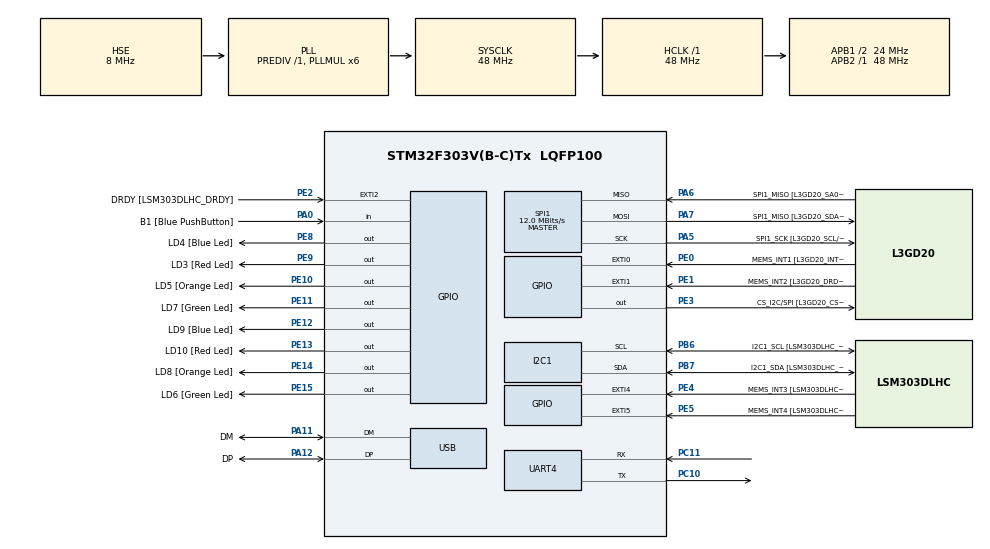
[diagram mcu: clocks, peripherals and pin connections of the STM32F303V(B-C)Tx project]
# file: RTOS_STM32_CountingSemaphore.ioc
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FREERTOS.INCLUDE_vTaskDelayUntil=1
FREERTOS.Tasks01=defaultTask,0,128,StartDefaultTask,Default,NULL,Dynamic,NULL,NULL
FREERTOS.configUSE_COUNTING_SEMAPHORES=1
FREERTOS.configUSE_MUTEXES=1
FREERTOS.configUSE_NEWLIB_REENTRANT=1
I2C1.Timing-I2C=0x2000090E
Mcu.Family=STM32F3
Mcu.Name=STM32F303V(B-C)Tx
Mcu.Package=LQFP100
NVIC.PriorityGroup=NVIC_PRIORITYGROUP_4
NVIC.TIM1_TRG_COM_TIM17_IRQn=true\:15\:0\:false\:false\:true\:false\:false\:true\:true
NVIC.TimeBase=TIM1_TRG_COM_TIM17_IRQn
NVIC.TimeBaseIP=TIM17
NVIC.UART4_IRQn=true\:5\:0\:false\:false\:true\:true\:true\:true\:true
PA0.GPIO_Label=B1 [Blue PushButton]
PA0.Signal=GPIO_Input
PA11.GPIO_Label=DM
PA11.Mode=Device
PA11.Signal=USB_DM
PA12.GPIO_Label=DP
PA12.Mode=Device
PA12.Signal=USB_DP
PA13.GPIO_Label=SWDIO
PA13.Mode=Serial_Wire
PA13.Signal=SYS_JTMS-SWDIO
PA14.GPIO_Label=SWCLK
PA14.Mode=Serial_Wire
PA14.Signal=SYS_JTCK-SWCLK
PA5.GPIO_Label=SPI1_SCK [L3GD20_SCL/SPC]
PA5.Mode=Full_Duplex_Master
PA5.Signal=SPI1_SCK
PA6.GPIO_Label=SPI1_MISO [L3GD20_SA0/SDO]
PA6.Mode=Full_Duplex_Master
PA6.Signal=SPI1_MISO
PA7.GPIO_Label=SPI1_MISO [L3GD20_SDA/SDI/SDO]
PA7.Mode=Full_Duplex_Master
PA7.Signal=SPI1_MOSI
PB3.GPIO_Label=SWO
PB3.Signal=SYS_JTDO-TRACESWO
PB6.GPIO_Label=I2C1_SCL [LSM303DLHC_SCL]
PB6.GPIO_Pu=GPIO_PULLUP
PB6.Mode=I2C
PB6.Signal=I2C1_SCL
PB7.GPIO_Label=I2C1_SDA [LSM303DLHC_SDA]
PB7.GPIO_Pu=GPIO_PULLUP
PB7.Mode=I2C
PB7.Signal=I2C1_SDA
PC10.Mode=Asynchronous
PC10.Signal=UART4_TX
PC11.Mode=Asynchronous
PC11.Signal=UART4_RX
PC14-OSC32_IN.GPIO_Label=OSC32_IN
PC14-OSC32_IN.Signal=RCC_OSC32_IN
PC15-OSC32_OUT.GPIO_Label=OSC32_OUT
PC15-OSC32_OUT.Signal=RCC_OSC32_OUT
PE0.GPIO_Label=MEMS_INT1 [L3GD20_INT1]
PE0.GPIO_ModeDefaultEXTI=GPIO_MODE_EVT_RISING
PE0.Signal=GPXTI0
PE1.GPIO_Label=MEMS_INT2 [L3GD20_DRDY/INT2]
PE1.GPIO_ModeDefaultEXTI=GPIO_MODE_EVT_RISING
PE1.Signal=GPXTI1
PE10.GPIO_Label=LD5 [Orange Led]
PE10.Signal=GPIO_Output
PE11.GPIO_Label=LD7 [Green Led]
PE11.Signal=GPIO_Output
PE12.GPIO_Label=LD9 [Blue Led]
PE12.Signal=GPIO_Output
PE13.GPIO_Label=LD10 [Red Led]
PE13.Signal=GPIO_Output
PE14.GPIO_Label=LD8 [Orange Led]
PE14.Signal=GPIO_Output
PE15.GPIO_Label=LD6 [Green Led]
PE15.Signal=GPIO_Output
PE2.GPIO_Label=DRDY [LSM303DLHC_DRDY]
PE2.GPIO_ModeDefaultEXTI=GPIO_MODE_EVT_RISING
PE2.Signal=GPXTI2
PE3.GPIO_Label=CS_I2C/SPI [L3GD20_CS_I2C/SPI]
PE3.Signal=GPIO_Output
PE4.GPIO_Label=MEMS_INT3 [LSM303DLHC_INT1]
PE4.GPIO_ModeDefaultEXTI=GPIO_MODE_EVT_RISING
PE4.Signal=GPXTI4
PE5.GPIO_Label=MEMS_INT4 [LSM303DLHC_INT2]
PE5.GPIO_ModeDefaultEXTI=GPIO_MODE_EVT_RISING
PE5.Signal=GPXTI5
PE8.GPIO_Label=LD4 [Blue Led]
PE8.Signal=GPIO_Output
PE9.GPIO_Label=LD3 [Red Led]
PE9.Signal=GPIO_Output
PF0-OSC_IN.GPIO_Label=OSC_IN
PF0-OSC_IN.Mode=HSE-External-Clock-Source
PF0-OSC_IN.Signal=RCC_OSC_IN
PF1-OSC_OUT.GPIO_Label=OSC_OUT
PF1-OSC_OUT.Signal=RCC_OSC_OUT
ProjectManager.HeapSize=0x200
ProjectManager.StackSize=0x400
ProjectManager.TargetToolchain=STM32CubeIDE
RCC.AHBFreq_Value=48000000
RCC.APB1CLKDivider=RCC_HCLK_DIV2
RCC.APB1Freq_Value=24000000
RCC.APB1TimFreq_Value=48000000
RCC.APB2Freq_Value=48000000
RCC.APB2TimFreq_Value=48000000
RCC.CortexFreq_Value=48000000
RCC.HCLKFreq_Value=48000000
RCC.HSE_VALUE=8000000
RCC.HSI_VALUE=8000000
RCC.LSE_VALUE=32768
RCC.PLLMUL=RCC_PLL_MUL6
RCC.SYSCLKFreq_VALUE=48000000
RCC.SYSCLKSourceVirtual=RCC_SYSCLKSOURCE_PLLCLK
RCC.USBFreq_Value=48000000
SPI1.BaudRatePrescaler=SPI_BAUDRATEPRESCALER_4
SPI1.BaudRatePrescaler-Full_Duplex_Master=SPI_BAUDRATEPRESCALER_2
SPI1.CalculateBaudRate=12.0 MBits/s
SPI1.CalculateBaudRate-Full_Duplex_Master=24.0 MBits/s
SPI1.Direction=SPI_DIRECTION_2LINES
SPI1.Mode=SPI_MODE_MASTER
SPI1.Mode-Full_Duplex_Master=SPI_MODE_MASTER
SPI1.VirtualType=VM_MASTER
VP_FREERTOS_VS_CMSIS_V1.Mode=CMSIS_V1
VP_SYS_VS_tim17.Mode=TIM17
board=STM32F3DISCOVERY

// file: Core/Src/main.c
/* USER CODE BEGIN Header */
/**
  ******************************************************************************
  * @file           : main.c
  * @brief          : Main program body
  ******************************************************************************
  * @attention
  *
  * Copyright (c) 2023 STMicroelectronics.
  * All rights reserved.
  *
  * This software is licensed under terms that can be found in the LICENSE file
  * in the root directory of this software component.
  * If no LICENSE file comes with this software, it is provided AS-IS.
  *
  ******************************************************************************
  */
/* USER CODE END Header */
#include "main.h"

/* USER CODE BEGIN Includes */
#include "FreeRTOS.h"
#include "task.h"
#include "timers.h"
#include "queue.h"
#include "semphr.h"
#include "event_groups.h"
#include "string.h"
#include "stdlib.h"
/* USER CODE END Includes */

/* USER CODE BEGIN PD */
#define RTOS_COUNTING_SEM_VAL 3

//
#define uxSemaphoreGetCountFromISR( xSemaphore )         uxQueueMessagesWaitingFromISR( ( QueueHandle_t ) ( xSemaphore ) )

/* USER CODE END PD */

I2C_HandleTypeDef hi2c1;

SPI_HandleTypeDef hspi1;

UART_HandleTypeDef huart4;

PCD_HandleTypeDef hpcd_USB_FS;

void SystemClock_Config(void);
static void MX_GPIO_Init(void);
static void MX_I2C1_Init(void);
static void MX_SPI1_Init(void);
static void MX_USB_PCD_Init(void);
static void MX_UART4_Init(void);

/* USER CODE BEGIN 0 */
TaskHandle_t Priority1_Task_handler;
void Priority1_Task_Callback(void *pvParameters);

TaskHandle_t Priority2_Task_handler;
void Priority2_Task_Callback(void *pvParameters);

TaskHandle_t Priority3_Task_handler;
void Priority3_Task_Callback(void *pvParameters);

TaskHandle_t Priority4_Task_handler;
void Priority4_Task_Callback(void *pvParameters);

SemaphoreHandle_t Counting_Semaphore;

int resources[3] = {111, 222, 333};
int res_index = 0;

uint8_t rxByte[1];

/* USER CODE END 0 */

int main(void)
{

  /* MCU Configuration--------------------------------------------------------*/

  /* Reset of all peripherals, Initializes the Flash interface and the Systick. */
  HAL_Init();

  /* Configure the system clock */
  SystemClock_Config();

  /* Initialize all configured peripherals */
  MX_GPIO_Init();
  MX_I2C1_Init();
  MX_SPI1_Init();
  MX_USB_PCD_Init();
  MX_UART4_Init();
  /* USER CODE BEGIN 2 */

  {
	  char *str = "This is a test from Muhammad Reza Heidary.\r\n";
	  HAL_UART_Transmit(&huart4, (uint8_t *)str, strlen(str), 100);
	  HAL_UART_Receive_IT(&huart4, rxByte, 1);
  }

  // Creating Counting Semaphore
  Counting_Semaphore = xQueueCreateCountingSemaphore(RTOS_COUNTING_SEM_VAL, 0);
  if(Counting_Semaphore == NULL) {
	  char *strSem = "Unable to create Semaphore!\r\n";
	  HAL_UART_Transmit(&huart4, (uint8_t *)strSem, strlen(strSem), 100);
  }
  else {
	  char *strSem = "Semaphore created successfully!\r\n";
	  HAL_UART_Transmit(&huart4, (uint8_t *)strSem, strlen(strSem), 100);
  }

  // Creating Tasks
  xTaskCreate(Priority1_Task_Callback, "Priority1_Task", 128, NULL, 3, &Priority1_Task_handler);
  xTaskCreate(Priority2_Task_Callback, "Priority2_Task", 128, NULL, 2, &Priority2_Task_handler);
  xTaskCreate(Priority3_Task_Callback, "Priority3_Task", 128, NULL, 1, &Priority3_Task_handler);
  xTaskCreate(Priority4_Task_Callback, "Priority4_Task", 128, NULL, 0, &Priority4_Task_handler);

  // Starting Kernel Scheduler
  vTaskStartScheduler();

  /* USER CODE END 2 */

  /* We should never get here as control is now taken by the scheduler */
  /* Infinite loop */
  while (1)
  {

  }
}

void SystemClock_Config(void)
{
  RCC_OscInitTypeDef RCC_OscInitStruct = {0};
  RCC_ClkInitTypeDef RCC_ClkInitStruct = {0};
  RCC_PeriphCLKInitTypeDef PeriphClkInit = {0};

  /** Initializes the RCC Oscillators according to the specified parameters
  * in the RCC_OscInitTypeDef structure.
  */
  RCC_OscInitStruct.OscillatorType = RCC_OSCILLATORTYPE_HSI|RCC_OSCILLATORTYPE_HSE;
  RCC_OscInitStruct.HSEState = RCC_HSE_BYPASS;
  RCC_OscInitStruct.HSEPredivValue = RCC_HSE_PREDIV_DIV1;
  RCC_OscInitStruct.HSIState = RCC_HSI_ON;
  RCC_OscInitStruct.HSICalibrationValue = RCC_HSICALIBRATION_DEFAULT;
  RCC_OscInitStruct.PLL.PLLState = RCC_PLL_ON;
  RCC_OscInitStruct.PLL.PLLSource = RCC_PLLSOURCE_HSE;
  RCC_OscInitStruct.PLL.PLLMUL = RCC_PLL_MUL6;
  if (HAL_RCC_OscConfig(&RCC_OscInitStruct) != HAL_OK)
  {
    Error_Handler();
  }

  /** Initializes the CPU, AHB and APB buses clocks
  */
  RCC_ClkInitStruct.ClockType = RCC_CLOCKTYPE_HCLK|RCC_CLOCKTYPE_SYSCLK
                              |RCC_CLOCKTYPE_PCLK1|RCC_CLOCKTYPE_PCLK2;
  RCC_ClkInitStruct.SYSCLKSource = RCC_SYSCLKSOURCE_PLLCLK;
  RCC_ClkInitStruct.AHBCLKDivider = RCC_SYSCLK_DIV1;
  RCC_ClkInitStruct.APB1CLKDivider = RCC_HCLK_DIV2;
  RCC_ClkInitStruct.APB2CLKDivider = RCC_HCLK_DIV1;

  if (HAL_RCC_ClockConfig(&RCC_ClkInitStruct, FLASH_LATENCY_1) != HAL_OK)
  {
    Error_Handler();
  }
  PeriphClkInit.PeriphClockSelection = RCC_PERIPHCLK_USB|RCC_PERIPHCLK_UART4
                              |RCC_PERIPHCLK_I2C1;
  PeriphClkInit.Uart4ClockSelection = RCC_UART4CLKSOURCE_PCLK1;
  PeriphClkInit.I2c1ClockSelection = RCC_I2C1CLKSOURCE_HSI;
  PeriphClkInit.USBClockSelection = RCC_USBCLKSOURCE_PLL;
  if (HAL_RCCEx_PeriphCLKConfig(&PeriphClkInit) != HAL_OK)
  {
    Error_Handler();
  }
}

static void MX_I2C1_Init(void)
{

  hi2c1.Instance = I2C1;
  hi2c1.Init.Timing = 0x2000090E;
  hi2c1.Init.OwnAddress1 = 0;
  hi2c1.Init.AddressingMode = I2C_ADDRESSINGMODE_7BIT;
  hi2c1.Init.DualAddressMode = I2C_DUALADDRESS_DISABLE;
  hi2c1.Init.OwnAddress2 = 0;
  hi2c1.Init.OwnAddress2Masks = I2C_OA2_NOMASK;
  hi2c1.Init.GeneralCallMode = I2C_GENERALCALL_DISABLE;
  hi2c1.Init.NoStretchMode = I2C_NOSTRETCH_DISABLE;
  if (HAL_I2C_Init(&hi2c1) != HAL_OK)
  {
    Error_Handler();
  }

  /** Configure Analogue filter
  */
  if (HAL_I2CEx_ConfigAnalogFilter(&hi2c1, I2C_ANALOGFILTER_ENABLE) != HAL_OK)
  {
    Error_Handler();
  }

  /** Configure Digital filter
  */
  if (HAL_I2CEx_ConfigDigitalFilter(&hi2c1, 0) != HAL_OK)
  {
    Error_Handler();
  }

}

static void MX_SPI1_Init(void)
{

  /* SPI1 parameter configuration*/
  hspi1.Instance = SPI1;
  hspi1.Init.Mode = SPI_MODE_MASTER;
  hspi1.Init.Direction = SPI_DIRECTION_2LINES;
  hspi1.Init.DataSize = SPI_DATASIZE_4BIT;
  hspi1.Init.CLKPolarity = SPI_POLARITY_LOW;
  hspi1.Init.CLKPhase = SPI_PHASE_1EDGE;
  hspi1.Init.NSS = SPI_NSS_SOFT;
  hspi1.Init.BaudRatePrescaler = SPI_BAUDRATEPRESCALER_4;
  hspi1.Init.FirstBit = SPI_FIRSTBIT_MSB;
  hspi1.Init.TIMode = SPI_TIMODE_DISABLE;
  hspi1.Init.CRCCalculation = SPI_CRCCALCULATION_DISABLE;
  hspi1.Init.CRCPolynomial = 7;
  hspi1.Init.CRCLength = SPI_CRC_LENGTH_DATASIZE;
  hspi1.Init.NSSPMode = SPI_NSS_PULSE_ENABLE;
  if (HAL_SPI_Init(&hspi1) != HAL_OK)
  {
    Error_Handler();
  }

}

static void MX_UART4_Init(void)
{

  huart4.Instance = UART4;
  huart4.Init.BaudRate = 115200;
  huart4.Init.WordLength = UART_WORDLENGTH_8B;
  huart4.Init.StopBits = UART_STOPBITS_1;
  huart4.Init.Parity = UART_PARITY_NONE;
  huart4.Init.Mode = UART_MODE_TX_RX;
  huart4.Init.HwFlowCtl = UART_HWCONTROL_NONE;
  huart4.Init.OverSampling = UART_OVERSAMPLING_16;
  huart4.Init.OneBitSampling = UART_ONE_BIT_SAMPLE_DISABLE;
  huart4.AdvancedInit.AdvFeatureInit = UART_ADVFEATURE_NO_INIT;
  if (HAL_UART_Init(&huart4) != HAL_OK)
  {
    Error_Handler();
  }

}

static void MX_USB_PCD_Init(void)
{

  hpcd_USB_FS.Instance = USB;
  hpcd_USB_FS.Init.dev_endpoints = 8;
  hpcd_USB_FS.Init.speed = PCD_SPEED_FULL;
  hpcd_USB_FS.Init.phy_itface = PCD_PHY_EMBEDDED;
  hpcd_USB_FS.Init.low_power_enable = DISABLE;
  hpcd_USB_FS.Init.battery_charging_enable = DISABLE;
  if (HAL_PCD_Init(&hpcd_USB_FS) != HAL_OK)
  {
    Error_Handler();
  }

}

static void MX_GPIO_Init(void)
{
  GPIO_InitTypeDef GPIO_InitStruct = {0};

  /* GPIO Ports Clock Enable */
  __HAL_RCC_GPIOE_CLK_ENABLE();
  __HAL_RCC_GPIOC_CLK_ENABLE();
  __HAL_RCC_GPIOF_CLK_ENABLE();
  __HAL_RCC_GPIOA_CLK_ENABLE();
  __HAL_RCC_GPIOB_CLK_ENABLE();

  /*Configure GPIO pin Output Level */
  HAL_GPIO_WritePin(GPIOE, CS_I2C_SPI_Pin|LD4_Pin|LD3_Pin|LD5_Pin
                          |LD7_Pin|LD9_Pin|LD10_Pin|LD8_Pin
                          |LD6_Pin, GPIO_PIN_RESET);

  /*Configure GPIO pins : DRDY_Pin MEMS_INT3_Pin MEMS_INT4_Pin MEMS_INT1_Pin
                           MEMS_INT2_Pin */
  GPIO_InitStruct.Pin = DRDY_Pin|MEMS_INT3_Pin|MEMS_INT4_Pin|MEMS_INT1_Pin
                          |MEMS_INT2_Pin;
  GPIO_InitStruct.Mode = GPIO_MODE_EVT_RISING;
  GPIO_InitStruct.Pull = GPIO_NOPULL;
  HAL_GPIO_Init(GPIOE, &GPIO_InitStruct);

  /*Configure GPIO pins : CS_I2C_SPI_Pin LD4_Pin LD3_Pin LD5_Pin
                           LD7_Pin LD9_Pin LD10_Pin LD8_Pin
                           LD6_Pin */
  GPIO_InitStruct.Pin = CS_I2C_SPI_Pin|LD4_Pin|LD3_Pin|LD5_Pin
                          |LD7_Pin|LD9_Pin|LD10_Pin|LD8_Pin
                          |LD6_Pin;
  GPIO_InitStruct.Mode = GPIO_MODE_OUTPUT_PP;
  GPIO_InitStruct.Pull = GPIO_NOPULL;
  GPIO_InitStruct.Speed = GPIO_SPEED_FREQ_LOW;
  HAL_GPIO_Init(GPIOE, &GPIO_InitStruct);

  /*Configure GPIO pin : B1_Pin */
  GPIO_InitStruct.Pin = B1_Pin;
  GPIO_InitStruct.Mode = GPIO_MODE_INPUT;
  GPIO_InitStruct.Pull = GPIO_NOPULL;
  HAL_GPIO_Init(B1_GPIO_Port, &GPIO_InitStruct);

}

/* USER CODE BEGIN 4 */

void Priority1_Task_Callback(void *pvParameters) {

	char str_resources[3];
	int sem_count = 0;
	char str_semcount[3];
	int sem_count_token = 0;
	char str_semcount_token[3];

	// Give 3 Semaphores at begginning of the task
	xSemaphoreGive(Counting_Semaphore);
	xSemaphoreGive(Counting_Semaphore);
	xSemaphoreGive(Counting_Semaphore);

	while(1) {
		  char str[150];
		  strcpy(str, "Entering to the task with highest priority(P1) => About to acquire the semaphore\r\n");
		  sem_count = uxSemaphoreGetCount(Counting_Semaphore);
		  itoa(sem_count, str_semcount, 10);
		  strcat(str, "#P1 Available tokens: ");
		  strcat(str, str_semcount);
		  strcat(str, "\r\n");
		  HAL_UART_Transmit(&huart4, (uint8_t *)str, strlen(str), HAL_MAX_DELAY);

		  xSemaphoreTake(Counting_Semaphore, portMAX_DELAY);

		  itoa(resources[res_index], str_resources, 10);
		  strcpy(str, "Leaving task with highest priority(P1) && Data Accessed is::");
		  strcat(str, str_resources);
		  strcat(str, " => Not releasing the semaphore...\r\n");
		  sem_count_token = uxSemaphoreGetCount(Counting_Semaphore);
		  itoa(sem_count_token, str_semcount_token, 10);
		  strcat(str, "###P1 Available tokens: ");
		  strcat(str, str_semcount_token);
		  strcat(str, "\r\n");
		  HAL_UART_Transmit(&huart4, (uint8_t *)str, strlen(str), HAL_MAX_DELAY);

		  res_index++;
		  if(res_index > 2) res_index = 0;
		  vTaskDelay(3000);
//		  vTaskDelete(NULL);
	}

}

void Priority2_Task_Callback(void *pvParameters) {

	char str_resources[3];
	int sem_count = 0;
	char str_semcount[3];
	int sem_count_token = 0;
	char str_semcount_token[3];

	while(1) {
		  char str[150];
		  strcpy(str, "Entering to the task with high priority(P2) => About to acquire the semaphore\r\n");
		  sem_count = uxSemaphoreGetCount(Counting_Semaphore);
		  itoa(sem_count, str_semcount, 10);
		  strcat(str, "#P2 Available tokens: ");
		  strcat(str, str_semcount);
		  strcat(str, "\r\n");
		  HAL_UART_Transmit(&huart4, (uint8_t *)str, strlen(str), HAL_MAX_DELAY);

		  xSemaphoreTake(Counting_Semaphore, portMAX_DELAY);

		  itoa(resources[res_index], str_resources, 10);
		  strcpy(str, "Leaving task with high priority(P2) && Data Accessed is::");
		  strcat(str, str_resources);
		  strcat(str, " => Not releasing the semaphore...\r\n");
		  sem_count_token = uxSemaphoreGetCount(Counting_Semaphore);
		  itoa(sem_count_token, str_semcount_token, 10);
		  strcat(str, "###P2 Available tokens: ");
		  strcat(str, str_semcount_token);
		  strcat(str, "\r\n");
		  HAL_UART_Transmit(&huart4, (uint8_t *)str, strlen(str), HAL_MAX_DELAY);

		  res_index++;
		  if(res_index > 2) res_index = 0;
		  vTaskDelay(2000);
//		  vTaskDelete(NULL);
	}

}

void Priority3_Task_Callback(void *pvParameters) {

	char str_resources[3];
	int sem_count = 0;
	char str_semcount[3];
	int sem_count_token = 0;
	char str_semcount_token[3];

	while(1) {
		  char str[150];
		  strcpy(str, "Entering to the task with low priority(P3) => About to acquire the semaphore\r\n");
		  sem_count = uxSemaphoreGetCount(Counting_Semaphore);
		  itoa(sem_count, str_semcount, 10);
		  strcat(str, "#P3 Available tokens: ");
		  strcat(str, str_semcount);
		  strcat(str, "\r\n");
		  HAL_UART_Transmit(&huart4, (uint8_t *)str, strlen(str), HAL_MAX_DELAY);

		  xSemaphoreTake(Counting_Semaphore, portMAX_DELAY);

		  itoa(resources[res_index], str_resources, 10);
		  strcpy(str, "Leaving task with low priority(P3) && Data Accessed is::");
		  strcat(str, str_resources);
		  strcat(str, " => Not releasing the semaphore...\r\n");
		  sem_count_token = uxSemaphoreGetCount(Counting_Semaphore);
		  itoa(sem_count_token, str_semcount_token, 10);
		  strcat(str, "###P3 Available tokens: ");
		  strcat(str, str_semcount_token);
		  strcat(str, "\r\n");
		  HAL_UART_Transmit(&huart4, (uint8_t *)str, strlen(str), HAL_MAX_DELAY);

		  res_index++;
		  if(res_index > 2) res_index = 0;
		  vTaskDelay(1000);
//		  vTaskDelete(NULL);
	}

}

void Priority4_Task_Callback(void *pvParameters) {

	char str_resources[3];
	int sem_count = 0;
	char str_semcount[3];
	int sem_count_token = 0;
	char str_semcount_token[3];

	while(1) {
		  char str[150];
		  strcpy(str, "Entering to the task with lowest priority(P4) => About to acquire the semaphore\r\n");
		  sem_count = uxSemaphoreGetCount(Counting_Semaphore);
		  itoa(sem_count, str_semcount, 10);
		  strcat(str, "#P4 Available tokens: ");
		  strcat(str, str_semcount);
		  strcat(str, "\r\n");
		  HAL_UART_Transmit(&huart4, (uint8_t *)str, strlen(str), HAL_MAX_DELAY);

		  xSemaphoreTake(Counting_Semaphore, portMAX_DELAY);

		  itoa(resources[res_index], str_resources, 10);
		  strcpy(str, "Leaving task with lowest priority(P4) && Data Accessed is::");
		  strcat(str, str_resources);
		  strcat(str, " => Not releasing the semaphore...\r\n");
		  sem_count_token = uxSemaphoreGetCount(Counting_Semaphore);
		  itoa(sem_count_token, str_semcount_token, 10);
		  strcat(str, "###P4 Available tokens: ");
		  strcat(str, str_semcount_token);
		  strcat(str, "\r\n");
		  HAL_UART_Transmit(&huart4, (uint8_t *)str, strlen(str), HAL_MAX_DELAY);

		  res_index++;
		  if(res_index > 2) res_index = 0;
		  vTaskDelay(500);
//		  vTaskDelete(NULL);
	}

}

void HAL_UART_RxCpltCallback(UART_HandleTypeDef *huart) {
	if(huart->Instance == huart4.Instance) {

		HAL_UART_Receive_IT(&huart4, rxByte, 1);

		// Releasing Semaphore from ISR is not straightforward by using a single function
		if(rxByte[0] == 'R') {
			static BaseType_t xHigherPriorityTaskWoken = pdFALSE;

	        xSemaphoreGiveFromISR(Counting_Semaphore, &xHigherPriorityTaskWoken ); //Release semaphore in ISR
	        xSemaphoreGiveFromISR(Counting_Semaphore, &xHigherPriorityTaskWoken ); //Release semaphore in ISR
	        xSemaphoreGiveFromISR(Counting_Semaphore, &xHigherPriorityTaskWoken ); //Release semaphore in ISR

			int sem_count = 0;
			char str_semcount[3] = {'\0'};;
		    char strISR[150] = {'\0'};;

	        sem_count = uxSemaphoreGetCountFromISR(Counting_Semaphore);
			itoa(sem_count, str_semcount, 10);
			strcat(strISR, "###UART ISR### Available tokens: ");
			strcat(strISR, str_semcount);
			strcat(strISR, "\r\n");
		    HAL_UART_Transmit(&huart4, (uint8_t *)strISR, strlen(strISR), HAL_MAX_DELAY);
		    for(uint8_t i = 0; i < 150; i++) strISR[i] = 0;

//	        portEND_SWITCHING_ISR(xHigherPriorityTaskWoken);
	        if(xHigherPriorityTaskWoken != pdFALSE)
	        	taskYIELD();
		}

	}
}
/* USER CODE END 4 */

void HAL_TIM_PeriodElapsedCallback(TIM_HandleTypeDef *htim)
{
  if (htim->Instance == TIM17) {
    HAL_IncTick();
  }
}

void Error_Handler(void)
{
  __disable_irq();
  while (1)
  {
  }
}

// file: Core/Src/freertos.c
/* USER CODE BEGIN Header */
/**
  ******************************************************************************
  * File Name          : freertos.c
  * Description        : Code for freertos applications
  ******************************************************************************
  * @attention
  *
  * Copyright (c) 2023 STMicroelectronics.
  * All rights reserved.
  *
  * This software is licensed under terms that can be found in the LICENSE file
  * in the root directory of this software component.
  * If no LICENSE file comes with this software, it is provided AS-IS.
  *
  ******************************************************************************
  */
/* USER CODE END Header */

#include "FreeRTOS.h"
#include "task.h"
#include "main.h"

/* USER CODE BEGIN Includes */
#include "timers.h"
#include "queue.h"
#include "semphr.h"
#include "event_groups.h"
/* USER CODE END Includes */

/* GetIdleTaskMemory prototype (linked to static allocation support) */
void vApplicationGetIdleTaskMemory( StaticTask_t **ppxIdleTaskTCBBuffer, StackType_t **ppxIdleTaskStackBuffer, uint32_t *pulIdleTaskStackSize );

/* USER CODE BEGIN GET_IDLE_TASK_MEMORY */
static StaticTask_t xIdleTaskTCBBuffer;
static StackType_t xIdleStack[configMINIMAL_STACK_SIZE];

void vApplicationGetIdleTaskMemory( StaticTask_t **ppxIdleTaskTCBBuffer, StackType_t **ppxIdleTaskStackBuffer, uint32_t *pulIdleTaskStackSize )
{
  *ppxIdleTaskTCBBuffer = &xIdleTaskTCBBuffer;
  *ppxIdleTaskStackBuffer = &xIdleStack[0];
  *pulIdleTaskStackSize = configMINIMAL_STACK_SIZE;
  /* place for user code */
}
/* USER CODE END GET_IDLE_TASK_MEMORY */
